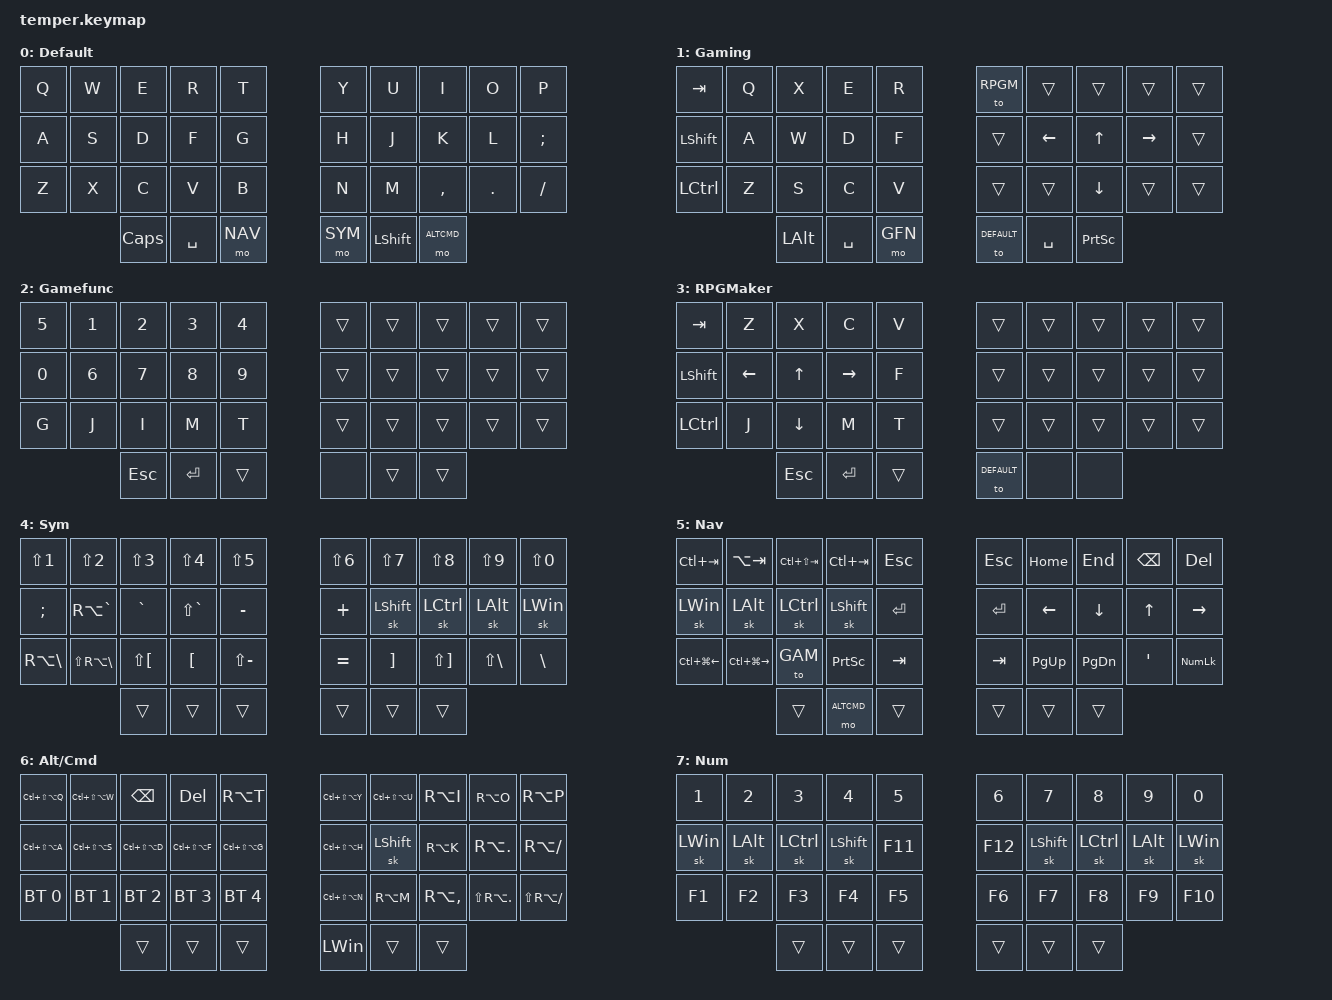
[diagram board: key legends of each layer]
/*
 * Copyright (c) 2020 The ZMK Contributors
 *
 * SPDX-License-Identifier: MIT
 */

#include <behaviors.dtsi>
#include <dt-bindings/zmk/keys.h>
#include <dt-bindings/zmk/bt.h>
#include <dt-bindings/zmk/outputs.h>

#define DEFAULT 0
#define GAM 1
#define GFN 2
#define RPGM 3
#define SYM 4
#define NAV 5
#define ALTCMD 6
#define NUM 7

/ {
    conditional_layers {
        compatible = "zmk,conditional-layers";
        tri_layer {
            if-layers = <SYM NAV>;
            then-layer = <NUM>;
        };
    };
    behaviors {
        bspc_del: backspace_delete {
            compatible = "zmk,behavior-mod-morph";
            #binding-cells = <0>;
            bindings = <&kp BACKSPACE>, <&kp DELETE>;
            mods = <(MOD_LSFT|MOD_RSFT)>;
            keep-mods = <(MOD_RSFT)>;
        };
        super_bspc: super_backspace {
            compatible = "zmk,behavior-mod-morph";
            #binding-cells = <0>;
            bindings = <&kp BACKSPACE>, <&kp LA(BACKSPACE)>;
            mods = <(MOD_LSFT|MOD_RSFT)>;
        };
        smart_shft: smart_shift {
            compatible = "zmk,behavior-mod-morph";
            #binding-cells = <0>;
            bindings = <&kp LSHFT>, <&caps_word>;
            mods = <(MOD_LSFT)>;
        };
        comma_semi: comma_semi {
            compatible = "zmk,behavior-mod-morph";
            #binding-cells = <0>;
            bindings = <&kp COMMA>, <&kp SEMI>;
            mods = <(MOD_LSFT)>;
        };
        dot_colon: dot_colon {
            compatible = "zmk,behavior-mod-morph";
            #binding-cells = <0>;
            bindings = <&kp DOT>, <&kp COLON>;
            mods = <(MOD_LSFT)>;
        };
        qmrk_excl: qmrk_excl {
            compatible = "zmk,behavior-mod-morph";
            #binding-cells = <0>;
            bindings = <&kp QMARK>, <&kp EXCL>;
            mods = <(MOD_LSFT)>;
        };
        slh_morph: slh_morph {
            compatible = "zmk,behavior-mod-morph";
            #binding-cells = <0>;
            bindings = <&kp FSLH>, <&kp BSLH>;
            mods = <(MOD_LSFT)>;
        };
        amps_morph: amps_morph {
            compatible = "zmk,behavior-mod-morph";
            #binding-cells = <0>;
            bindings = <&kp AMPS>, <&kp PIPE>;
            mods = <(MOD_LSFT)>;
        };
    };
        keymap {
                compatible = "zmk,keymap";

                default_layer {
                        label = "Default";
                        bindings = <
// ╭─────────────┬─────────────┬─────────────┬─────────────┬─────────────╮   ╭─────────────┬─────────────┬─────────────┬─────────────┬─────────────╮
        &kp Q         &kp W         &kp E         &kp R         &kp T              &kp Y        &kp U         &kp I         &kp O         &kp P   
// ├─────────────┼─────────────┼─────────────┼─────────────┼─────────────┤   ├─────────────┼─────────────┼─────────────┼─────────────┼─────────────┤
        &kp A         &kp S         &kp D         &kp F         &kp G              &kp H        &kp J         &kp K         &kp L        &kp SEMI
// ├─────────────┼─────────────┼─────────────┼─────────────┼─────────────┤   ├─────────────┼─────────────┼─────────────┼─────────────┼─────────────┤
        &kp Z         &kp X         &kp C         &kp V         &kp B             &kp N         &kp M      &kp COMMA       &kp DOT       &kp FSLH
// ╰─────────────┴─────────────┼─────────────┼─────────────┼─────────────┤   ├─────────────┼─────────────┼─────────────┼─────────────┴─────────────╯
                                  &kp CAPS     &kp SPACE      &mo NAV           &mo SYM       &kp LSHFT    &mo ALTCMD
//                             ╰─────────────┴─────────────┴─────────────╯   ╰─────────────┴─────────────┴─────────────╯
                        >;
                };
                gaming_layer {
                        label = "Gaming";
                        bindings = <
// ╭─────────────┬─────────────┬─────────────┬─────────────┬─────────────╮   ╭─────────────┬─────────────┬─────────────┬─────────────┬─────────────╮
       &kp TAB         &kp Q         &kp X         &kp E         &kp R          &to RPGM        &trans       &trans        &trans        &trans    
// ├─────────────┼─────────────┼─────────────┼─────────────┼─────────────┤   ├─────────────┼─────────────┼─────────────┼─────────────┼─────────────┤
      &kp LSHFT       &kp A         &kp W         &kp D         &kp F             &trans       &kp LEFT        &kp UP     &kp RIGHT       &trans
// ├─────────────┼─────────────┼─────────────┼─────────────┼─────────────┤   ├─────────────┼─────────────┼─────────────┼─────────────┼─────────────┤
      &kp LCTRL       &kp Z         &kp S         &kp C         &kp V             &trans        &trans       &kp DOWN       &trans       &trans
// ╰─────────────┴─────────────┼─────────────┼─────────────┼─────────────┤   ├─────────────┼─────────────┼─────────────┼─────────────┴─────────────╯
                                  &kp LALT      &kp SPACE      &mo GFN         &to DEFAULT    &kp SPACE     &kp PSCRN
//                             ╰─────────────┴─────────────┴─────────────╯   ╰─────────────┴─────────────┴─────────────╯
                        >;
                };
                gamefunc_layer {
                        label = "Gamefunc";
                        bindings = <
// ╭─────────────┬─────────────┬─────────────┬─────────────┬─────────────╮   ╭─────────────┬─────────────┬─────────────┬─────────────┬─────────────╮
       &kp N5         &kp N1        &kp N2        &kp N3       &kp N4             &trans       &trans        &trans        &trans        &trans    
// ├─────────────┼─────────────┼─────────────┼─────────────┼─────────────┤   ├─────────────┼─────────────┼─────────────┼─────────────┼─────────────┤
       &kp N0        &kp N6        &kp N7        &kp N8         &kp N9            &trans       &trans        &trans        &trans        &trans
// ├─────────────┼─────────────┼─────────────┼─────────────┼─────────────┤   ├─────────────┼─────────────┼─────────────┼─────────────┼─────────────┤
        &kp G         &kp J         &kp I         &kp M          &kp T            &trans       &trans        &trans        &trans        &trans
// ╰─────────────┴─────────────┼─────────────┼─────────────┼─────────────┤   ├─────────────┼─────────────┼─────────────┼─────────────┴─────────────╯
                                   &kp ESC      &kp ENTER       &trans            &none        &trans        &trans 
//                             ╰─────────────┴─────────────┴─────────────╯   ╰─────────────┴─────────────┴─────────────╯
                        >;
                };
                rpgmaker_layer {
                        label = "RPGMaker";
                        bindings = <
// ╭─────────────┬─────────────┬─────────────┬─────────────┬─────────────╮   ╭─────────────┬─────────────┬─────────────┬─────────────┬─────────────╮
      &kp TAB         &kp Z         &kp X         &kp C         &kp V             &trans       &trans        &trans        &trans        &trans    
// ├─────────────┼─────────────┼─────────────┼─────────────┼─────────────┤   ├─────────────┼─────────────┼─────────────┼─────────────┼─────────────┤
      &kp LSHFT     &kp LEFT        &kp UP      &kp RIGHT       &kp F             &trans       &trans        &trans        &trans        &trans
// ├─────────────┼─────────────┼─────────────┼─────────────┼─────────────┤   ├─────────────┼─────────────┼─────────────┼─────────────┼─────────────┤
      &kp LCTRL      &kp J        &kp DOWN        &kp M          &kp T            &trans       &trans        &trans        &trans        &trans
// ╰─────────────┴─────────────┼─────────────┼─────────────┼─────────────┤   ├─────────────┼─────────────┼─────────────┼─────────────┴─────────────╯
                                   &kp ESC      &kp ENTER       &trans         &to DEFAULT      &none         &none
//                             ╰─────────────┴─────────────┴─────────────╯   ╰─────────────┴─────────────┴─────────────╯
                        >;
                };

                sym_layer {
                        label = "Sym";
                        bindings = <
// ╭─────────────┬─────────────┬─────────────┬─────────────┬─────────────╮   ╭─────────────┬─────────────┬─────────────┬─────────────┬─────────────╮
      &kp LS(N1)    &kp LS(N2)    &kp LS(N3)    &kp LS(N4)    &kp LS(N5)        &kp LS(N6)    &kp LS(N7)    &kp LS(N8)    &kp LS(N9)    &kp LS(N0)
// ├─────────────┼─────────────┼─────────────┼─────────────┼─────────────┤   ├─────────────┼─────────────┼─────────────┼─────────────┼─────────────┤
       &kp SEMI   &kp RA(GRAVE)   &kp GRAVE  &kp LS(GRAVE)   &kp MINUS          &kp PLUS      &sk LSHIFT    &sk LCTRL     &sk LALT      &sk LWIN
// ├─────────────┼─────────────┼─────────────┼─────────────┼─────────────┤   ├─────────────┼─────────────┼─────────────┼─────────────┼─────────────┤
   &kp RA(BSLH)  &kp LS(RA(BSLH)) &kp LS(LBKT)   &kp LBKT   &kp LS(MINUS)       &kp EQUAL     &kp RBKT   &kp LS(RBKT)   &kp LS(BSLH)    &kp BSLH
// ╰─────────────┴─────────────┼─────────────┼─────────────┼─────────────┤   ├─────────────┼─────────────┼─────────────┼─────────────┴─────────────╯
                                    &trans        &trans        &trans            &trans        &trans        &trans
//                             ╰─────────────┴─────────────┴─────────────╯   ╰─────────────┴─────────────┴─────────────╯
                        >;
                };

                nav_layer {
                        label = "Nav";
                        bindings = <
// ╭─────────────┬─────────────┬─────────────┬─────────────┬─────────────╮   ╭─────────────┬─────────────┬─────────────┬─────────────┬─────────────╮
     &kp LC(TAB)   &kp LA(TAB) &kp LC(LS(TAB)) &kp LC(TAB)     &kp ESC            &kp ESC      &kp HOME      &kp END       &kp BSPC     &kp DEL
// ├─────────────┼─────────────┼─────────────┼─────────────┼─────────────┤   ├─────────────┼─────────────┼─────────────┼─────────────┼─────────────┤
       &sk LWIN     &sk LALT      &sk LCTRL     &sk LSHIFT    &kp ENTER         &kp ENTER      &kp LEFT      &kp DOWN      &kp UP       &kp RIGHT
// ├─────────────┼─────────────┼─────────────┼─────────────┼─────────────┤   ├─────────────┼─────────────┼─────────────┼─────────────┼─────────────┤
   &kp LC(LG(LEFT)) &kp LC(LG(RIGHT)) &to GAM    &kp PSCRN      &kp TAB           &kp TAB     &kp PG_UP     &kp PG_DN     &kp SQT     &kp KP_NUMLOCK
// ╰─────────────┴─────────────┼─────────────┼─────────────┼─────────────┤   ├─────────────┼─────────────┼─────────────┼─────────────┴─────────────╯
                                    &trans     &mo ALTCMD        &trans            &trans        &trans        &trans
//                             ╰─────────────┴─────────────┴─────────────╯   ╰─────────────┴─────────────┴─────────────╯
                        >;
                };

                altcmd_layer {
                        label = "Alt/Cmd";
                        bindings = <
// ╭─────────────┬─────────────┬─────────────┬─────────────┬─────────────╮   ╭─────────────┬─────────────┬─────────────┬─────────────┬─────────────╮
&kp LC(LS(LA(Q))) &kp LC(LS(LA(W))) &kp BSPC       &kp DEL    &kp RA(T)    &kp LC(LS(LA(Y))) &kp LC(LS(LA(U))) &kp RA(I)  &kp RA(O)     &kp RA(P)
// ├─────────────┼─────────────┼─────────────┼─────────────┼─────────────┤   ├─────────────┼─────────────┼─────────────┼─────────────┼─────────────┤
&kp LC(LS(LA(A))) &kp LC(LS(LA(S))) &kp LC(LS(LA(D))) &kp LC(LS(LA(F))) &kp LC(LS(LA(G))) &kp LC(LS(LA(H))) &sk LSHIFT    &kp RA(K)    &kp RA(DOT)    &kp RA(FSLH)
// ├─────────────┼─────────────┼─────────────┼─────────────┼─────────────┤   ├─────────────┼─────────────┼─────────────┼─────────────┼─────────────┤
     &bt BT_SEL 0  &bt BT_SEL 1 &bt BT_SEL 2   &bt BT_SEL 3  &bt BT_SEL 4  &kp LC(LS(LA(N))) &kp RA(M) &kp RA(COMMA)  &kp LS(RA(DOT))   &kp LS(RA(FSLH))
// ╰─────────────┴─────────────┼─────────────┼─────────────┼─────────────┤   ├─────────────┼─────────────┼─────────────┼─────────────┴─────────────╯
                                    &trans        &trans        &trans          &kp LWIN        &trans        &trans
//                             ╰─────────────┴─────────────┴─────────────╯   ╰─────────────┴─────────────┴─────────────╯
                        >;
                };
                num_layer {
                        label = "Num";
                        bindings = <
// ╭─────────────┬─────────────┬─────────────┬─────────────┬─────────────╮   ╭─────────────┬─────────────┬─────────────┬─────────────┬─────────────╮
        &kp N1        &kp N2       &kp N3        &kp N4        &kp N5             &kp N6        &kp N7        &kp N8        &kp N9       &kp N0
// ├─────────────┼─────────────┼─────────────┼─────────────┼─────────────┤   ├─────────────┼─────────────┼─────────────┼─────────────┼─────────────┤
      &sk LWIN      &sk LALT      &sk LCTRL     &sk LSHIFT     &kp F11          &kp F12      &sk LSHIFT     &sk LCTRL     &sk LALT      &sk LWIN
// ├─────────────┼─────────────┼─────────────┼─────────────┼─────────────┤   ├─────────────┼─────────────┼─────────────┼─────────────┼─────────────┤
       &kp F1        &kp F2        &kp F3        &kp F4        &kp F5            &kp F6         &kp F7       &kp F8        &kp F9        &kp F10
// ╰─────────────┴─────────────┼─────────────┼─────────────┼─────────────┤   ├─────────────┼─────────────┼─────────────┼─────────────┴─────────────╯
                                    &trans        &trans        &trans            &trans        &trans        &trans
//                             ╰─────────────┴─────────────┴─────────────╯   ╰─────────────┴─────────────┴─────────────╯
                        >;
                };
        };
};
